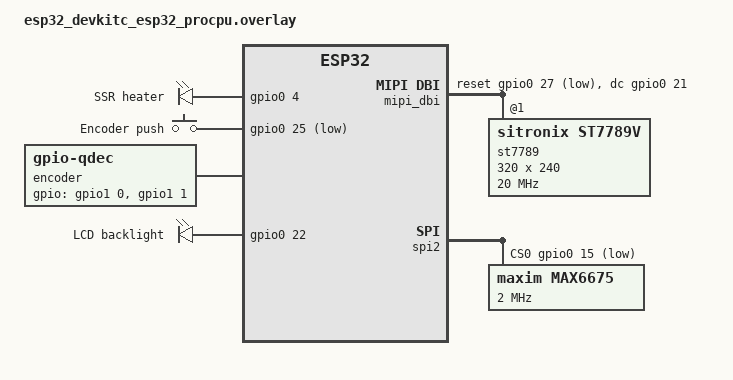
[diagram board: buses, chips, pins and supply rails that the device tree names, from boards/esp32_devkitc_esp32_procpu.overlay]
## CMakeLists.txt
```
# SPDX-License-Identifier: Apache-2.0

cmake_minimum_required(VERSION 3.20.0)

# Make this application's snippets/ directory discoverable, so that
# 'west build -S usb-webui' works with no extra flags. SNIPPET_ROOT otherwise
# contains only the zephyr repository - the application directory is *not*
# added automatically. This must come before find_package(Zephyr), which is
# where snippets are processed.
list(APPEND SNIPPET_ROOT ${CMAKE_CURRENT_SOURCE_DIR})

find_package(Zephyr REQUIRED HINTS $ENV{ZEPHYR_BASE})
project(reflow_oven LANGUAGES C)

# Control core: always present. telemetry_json.c is here because the shell, the
# HTTP server and any host tool must all format the same object identically.
target_sources(app PRIVATE
  src/main.c
  src/telemetry_json.c
  src/core/controller.c
  src/core/fatal.c
  src/core/heater.c
  src/core/pid.c
  src/core/profile.c
  src/core/temp.c
  src/core/tempguard.c
)

# Optional features. Each one is a leaf: nothing in the core references them.
target_sources_ifdef(CONFIG_REFLOW_UI_DISPLAY app PRIVATE src/ui/display_ui.c)
target_sources_ifdef(CONFIG_REFLOW_UI_INPUT   app PRIVATE src/ui/input_ui.c
                                                          src/ui/buttonmap.c
                                                          src/ui/selmap.c)
target_sources_ifdef(CONFIG_REFLOW_SHELL      app PRIVATE src/shell_cmds.c)

# Web UI: the server plus exactly one link implementation.
target_sources_ifdef(CONFIG_REFLOW_NET           app PRIVATE src/net/httpd.c src/net/cmdparse.c
                                                            src/net/httpgate.c src/net/l4.c
                                                            src/net/profiles_json.c
                                                            src/net/sendbudget.c)
target_sources_ifdef(CONFIG_REFLOW_LINK_WIFI     app PRIVATE src/net/wifi.c
                                                             src/net/wifipolicy.c)
target_sources_ifdef(CONFIG_REFLOW_LINK_USB_ECM  app PRIVATE src/net/usb_net.c)
target_sources_ifdef(CONFIG_REFLOW_LINK_WIFI_AP  app PRIVATE src/net/wifi_ap.c
                                                             src/net/wifi_ap_cfg.c)

#
# The access point link refuses to broadcast without a passphrase (see
# reflow_wifi_ap_usable()), and that refusal happens at boot - inside a closed
# oven, in a log nobody may be reading. Say it here as well, where whoever is
# building can still act on it.
#
# It is a warning and not a FATAL_ERROR on purpose: the empty default has to
# stay buildable, or the modularity matrix could not compile this link at all
# without a secret in a versioned file - which is the thing PROCESSO section 8
# forbids.
#
if(CONFIG_REFLOW_LINK_WIFI_AP AND "${CONFIG_REFLOW_AP_PSK}" STREQUAL "")
  message(WARNING
    "CONFIG_REFLOW_AP_PSK is empty: the oven will NOT start its access point "
    "and the web UI will stay off. Set it at build time "
    "(-DCONFIG_REFLOW_AP_PSK=\"...\") or from an uncommitted conf fragment. "
    "Never commit it (PROCESSO section 8).")
endif()

# The page the HTTP server serves is generated, not committed - see the file
# for why. Only the builds that contain httpd.c need it.
include(${CMAKE_CURRENT_SOURCE_DIR}/cmake/index_html.cmake)
if(CONFIG_REFLOW_NET)
  reflow_generate_index_html(${CMAKE_CURRENT_SOURCE_DIR})
endif()

target_include_directories(app PRIVATE src)
```

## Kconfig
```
# SPDX-License-Identifier: Apache-2.0

mainmenu "Reflow oven firmware"

menu "Reflow oven"

comment "Control core"

config REFLOW_CTRL_PERIOD_MS
	int "Control loop period (ms)"
	default 100
	range 10 1000
	help
	  Cadence of the control thread. It drives the SSR window modulation
	  and the profile state machine.

config REFLOW_SAMPLE_PERIOD_MS
	int "Thermocouple sampling period (ms)"
	default 250
	range 100 2000
	help
	  A MAX6675 conversion takes about 220 ms; do not go below that.

config REFLOW_PUBLISH_PERIOD_MS
	int "Telemetry publish period (ms)"
	default 500
	range 100 5000

config REFLOW_ABS_MAX_TEMP_C
	int "Absolute over-temperature cut-out (degC)"
	default 270
	range 60 400
	help
	  Firmware backstop, checked independently of the running profile.
	  It does NOT replace a hardware thermal fuse.

config REFLOW_SENSOR_RETRY_MS
	int "Retry the sensor front-end every (ms) while it is missing"
	default 2000
	range 250 60000
	help
	  An oven powered up with the thermocouple unplugged used to stay
	  unusable until a reboot: the front-end was initialised once, and
	  nothing ever sampled again, so START was refused for ever with no
	  fault on screen (RFO-B39). While the front-end is missing the control
	  thread retries this often, and picks up as soon as the probe is
	  plugged in.

	  Only while the oven is not running: with the state machine stopped the
	  SSR is already off, so a driver is never re-initialised underneath a
	  live element.

config REFLOW_CTRL_STACK_SIZE
	int "Control thread stack size"
	default 2048

config REFLOW_CTRL_PRIORITY
	int "Control thread priority"
	default 5
	help
	  Lower is higher priority. Keep it above the UI and network threads.

comment "Heater output"

config REFLOW_HEATER_WINDOW_MS
	int "Slow PWM window (ms)"
	default 1000
	range 100 10000

config REFLOW_HEATER_MIN_PULSE_MS
	int "Shortest pulse the SSR is allowed to receive (ms)"
	default 50
	range 0 1000
	help
	  Duties that would produce a shorter pulse are snapped to 0 % or 100 %.

config REFLOW_HEATER_STALE_MS
	int "Force the output off if no duty update within (ms)"
	default 2000
	range 200 10000
	help
	  Fail-safe: if the control loop stops updating the request, the
	  element is switched off.

comment "PID gains (milli-units: 40000 means 40.0)"

config REFLOW_PID_KP_MILLI
	int "Kp, permille of duty per degC of error"
	default 60000

config REFLOW_PID_KI_MILLI
	int "Ki"
	default 2000

config REFLOW_PID_KD_MILLI
	int "Kd"
	default 250000

config REFLOW_PID_I_CLAMP
	int "Integral term clamp (permille)"
	default 1000
	help
	  A heater needs most of its steady-state duty to come from the
	  integral term, so this is deliberately as large as the output range.

config REFLOW_PID_D_ALPHA_MILLI
	int "Derivative low-pass coefficient (milli, 1000 = off)"
	default 200
	range 1 1000

comment "Optional features"

config REFLOW_UI_DISPLAY
	bool "Local display UI (LVGL)"
	select DISPLAY
	select LVGL
	help
	  ST7789-class colour panel described by the 'zephyr,display' chosen
	  node. Purely an observer of the telemetry channel.

config REFLOW_UI_DISPLAY_STACK_SIZE
	int "Display thread stack size"
	default 4096
	depends on REFLOW_UI_DISPLAY

config REFLOW_UI_INPUT
	bool "Rotary encoder and button"
	select INPUT
	help
	  Uses gpio-qdec and gpio-keys nodes through the input subsystem.

config REFLOW_SHELL
	bool "Serial console commands"
	select SHELL
	default y
	help
	  'reflow status|start|stop|clear|profile' on the console. Very useful
	  during bring-up; can be removed from a production build.

config REFLOW_NET
	bool "Web UI over the network"
	select NETWORKING
	select NET_IPV4
	select NET_TCP
	select NET_SOCKETS
	select NET_MGMT
	select NET_MGMT_EVENT
	select NET_CONNECTION_MANAGER
	help
	  Single page web UI with a live temperature plot, served by an HTTP
	  server written on plain BSD sockets. The server does not care how the
	  link is provided - pick that below.

# Credentials stay outside the 'if' below so that setting them in prj.conf
# never warns in a build without networking.
config REFLOW_WIFI_SSID
	string "Wi-Fi SSID"
	default "changeme"

config REFLOW_WIFI_PSK
	string "Wi-Fi passphrase (empty for an open network)"
	default ""

if REFLOW_NET

choice REFLOW_LINK
	prompt "Network link for the web UI"
	default REFLOW_LINK_WIFI

config REFLOW_LINK_WIFI
	bool "Wi-Fi station"
	select WIFI
	# wifi.c calls net_mgmt(NET_REQUEST_WIFI_CONNECT). The request handler
	# lives in the Wi-Fi L2 management layer, and WIFI alone does not bring
	# it in: each vendor driver selects it. On a target with no Wi-Fi driver
	# (native_sim, the modularity matrix) the link then fails with
	# 'undefined reference to net_mgmt_NET_REQUEST_WIFI_CONNECT'. The
	# feature uses the API, so the feature declares it.
	select NET_L2_WIFI_MGMT
	help
	  Joins an existing network. Needs a radio: fine on ESP32, not
	  available on a bare RP2350.

config REFLOW_LINK_USB_ECM
	bool "USB Ethernet (CDC ECM)"
	select USB_DEVICE_STACK_NEXT
	select NET_L2_ETHERNET
	select NET_DHCPV4_SERVER
	select HWINFO
	help
	  The oven appears as a USB Ethernet adapter on the same cable that
	  powers it, and hands the host an address over DHCP. No radio needed.

	  Host support: Linux and macOS bind CDC ECM out of the box; Windows
	  has no in-box ECM driver and needs a third party one.

	  Requires a zephyr,cdc-ecm-ethernet node in the devicetree, and
	  CONFIG_CDC_ACM_SERIAL_INITIALIZE_AT_BOOT must be off, because this
	  module initialises the USB device stack itself (registering the
	  shell's CDC ACM function along with the Ethernet one).

config REFLOW_LINK_WIFI_AP
	bool "Wi-Fi access point (SoftAP)"
	select WIFI
	# Same reason as the station link: this module calls
	# net_mgmt(NET_REQUEST_WIFI_AP_ENABLE), whose handler lives in the Wi-Fi
	# L2 management layer, and WIFI alone does not bring it in.
	select NET_L2_WIFI_MGMT
	# The oven hands out addresses on its own network, exactly as it does on
	# the USB link.
	select NET_DHCPV4_SERVER
	help
	  The oven IS the network: it broadcasts its own SSID and serves the web
	  UI at a fixed address, so a phone or a laptop joins it directly with no
	  existing Wi-Fi around. Needs a radio: fine on ESP32, not available on a
	  bare RP2350.

	  This puts start and stop of a mains heater within radio range of
	  anyone, so it refuses to come up until REFLOW_AP_PSK is set, and it
	  logs at error level while CONFIG_REFLOW_NET_TOKEN is empty (commands
	  answer 503, telemetry is still served).

endchoice

if REFLOW_LINK_USB_ECM

config REFLOW_USB_IPV4_ADDR
	string "Oven address on the USB link"
	default "192.168.7.1"

config REFLOW_USB_IPV4_MASK
	string "Netmask of the USB link"
	default "255.255.255.0"

config REFLOW_USB_DHCP_POOL_START
	string "First address handed to the host"
	default "192.168.7.2"

config REFLOW_USB_VID
	hex "USB vendor ID"
	default 0x2fe3
	help
	  0x2fe3 is the Zephyr project VID, acceptable for local development
	  only. Use your own VID/PID pair before distributing hardware.

config REFLOW_USB_PID
	hex "USB product ID"
	default 0x0007

config REFLOW_USB_MANUFACTURER
	string "USB manufacturer string"
	default "Reflow oven project"

config REFLOW_USB_PRODUCT
	string "USB product string"
	default "Reflow oven"

endif # REFLOW_LINK_USB_ECM

if REFLOW_LINK_WIFI_AP

config REFLOW_AP_SSID
	string "SSID the oven broadcasts"
	default "reflow-oven"
	help
	  1 to 32 characters. Not a secret, so it has a working default.

config REFLOW_AP_PSK
	string "Passphrase of the oven's network"
	default ""
	help
	  WPA2 passphrase, 8 to 63 characters. EMPTY BY DESIGN: a passphrase is
	  a secret and secrets do not live in a versioned file (PROCESSO §8), so
	  there is no working default to inherit by accident.

	  While it is empty the access point does NOT come up - the oven says so
	  at error level every boot and the web UI stays off. That is deliberate:
	  an oven broadcasting an open network is an oven anyone in range can
	  turn on, and a freshly flashed board is exactly the one with nothing
	  set. Pass it at build time (`-DCONFIG_REFLOW_AP_PSK="..."`) or from a
	  conf fragment you do not commit.

config REFLOW_AP_IPV4_ADDR
	string "Oven address on its own network"
	default "192.168.4.1"

config REFLOW_AP_IPV4_MASK
	string "Netmask of the oven's network"
	default "255.255.255.0"

config REFLOW_AP_DHCP_POOL_START
	string "First address handed to a client"
	default "192.168.4.2"

endif # REFLOW_LINK_WIFI_AP

config REFLOW_NET_TOKEN
	string "Shared secret required to command the oven over HTTP"
	default ""
	help
	  Sent by the web UI in the X-Reflow-Token header of POST /api/cmd, and
	  compared byte for byte before any command reaches the control core.

	  Deliberately inside `if REFLOW_NET`, and deliberately empty by default:
	  an EMPTY TOKEN DISABLES REMOTE COMMANDS ENTIRELY (the endpoint answers
	  503). A build that accepted anonymous commands because nobody set a
	  token would be the RFO-B02 defect with a friendlier face.

	  Not a substitute for a network you trust: the link is plain HTTP, so
	  anyone able to capture the traffic can replay the token. It closes the
	  drive-by-from-the-browser and the anyone-on-the-LAN cases, not the
	  wiretap one.

	  Do NOT put it in the served page. The UI asks the operator for it and
	  keeps it in memory only.

config REFLOW_NET_HTTP_PORT
	int "HTTP port"
	default 80

config REFLOW_NET_MAX_CLIENTS
	int "Simultaneous HTTP connections"
	default 4
	range 1 8

config REFLOW_NET_PUSH_PERIOD_MS
	int "Server-sent events push period (ms)"
	default 1000
	range 200 10000

config REFLOW_NET_SEND_BUDGET_MS
	int "Drop a client that accepts no data for (ms)"
	default 500
	range 100 10000
	help
	  The server has one thread. A client that asks for a page and then
	  stops reading would park that thread inside send() for ever, which
	  stops the event stream for every other client and kills the remote
	  Stop button (RFO-B07). This bounds it: after this long with no byte
	  accepted, the connection is closed. It measures silence, not
	  connection age, so a slow but progressing download is never dropped
	  and an idle event stream is never touched.

config REFLOW_NET_IDLE_BUDGET_MS
	int "Reclaim a connection that sends no request within (ms)"
	default 5000
	range 1000 60000
	help
	  A connection that is accepted and then says nothing never becomes
	  readable, so the server never serves it and never closes it. Four of
	  them take every slot and the web UI - with the remote Stop button -
	  is unreachable until the board is reset (RFO-B08). After this long
	  without a request arriving, the slot is reclaimed.

	  It applies only to a request that has not arrived yet: an established
	  event stream is idle by definition and is never closed by it.

config REFLOW_NET_STACK_SIZE
	int "HTTP server thread stack size"
	default 4096

endif # REFLOW_NET

module = REFLOW
module-str = reflow
source "subsys/logging/Kconfig.template.log_config"

endmenu

# Network sizing for the web UI.
#
# THIS BLOCK IS BEFORE `source "Kconfig.zephyr"` ON PURPOSE (RFO-B15, RFO-G32).
# `configdefault` inserts its default at the position the symbol's default list
# had when the block was parsed, and Kconfig then takes the first default whose
# condition holds. ZVFS_POLL_MAX carries an unconditional `default 3` upstream,
# so a configdefault parsed AFTER the Zephyr tree lands behind that 3 and never
# applies - which is exactly what happened: the shipped firmware built with
# CONFIG_ZVFS_POLL_MAX=3 while this file claimed 8, and the server died as soon
# as three connections were open. Parsed before the tree, this default is first
# and wins. Anything set in prj.conf or on the command line still beats it.
#
# RFO-G32: the sizing symbols below were in the block after the source and had
# the same defect - measured on rpi_pico2 -S usb-webui, the image built with
# NET_MAX_CONTEXTS=6, NET_PKT_RX_COUNT=14 and NET_PKT_TX_COUNT=14 while this
# file claimed 10, 16 and 16. Only NET_MAX_CONN happened to coincide, because
# the upstream default is also 8. Every one of them is a floor the HTTP server
# needs, so every one of them belongs before the source.

# Sockets poll() sizing lives in ZVFS since NET_SOCKETS started selecting it
# (the old NET_SOCKETS_POLL_MAX no longer exists). The web UI polls one
# listening socket plus REFLOW_NET_MAX_CLIENTS connections, so 8 + 1 covers the
# whole allowed range of clients.
configdefault ZVFS_POLL_MAX
	default 9 if REFLOW_NET

# The send timeout on an accepted socket, without which zsock_send() can park
# the server thread on one client for ever (RFO-B46).
#
# setsockopt(SO_SNDTIMEO) is gated on this symbol - sockets_inet.c wraps the
# whole case in IS_ENABLED(CONFIG_NET_CONTEXT_SNDTIMEO) and falls through to
# ENOTSUP without it - and upstream declares it as a plain bool with no
# `default y`. So the call failed with ENOTSUP on every target this project
# ever built, the httpd.c warning fired once per accepted connection, and the
# comment above send_all() claimed a guarantee that never held.
#
# In this block for GROUPING, and NOT for the reason its neighbours are here
# (RFO-G39 corrects RFO-B46 on this point). The RFO-B15 / RFO-G32 mechanism - a
# configdefault parsed after the Zephyr tree landing behind an unconditional
# upstream default, and never applying - needs a default in front of it to fall
# behind. This symbol has none: upstream declares it as a plain bool with no
# `default` at all, as the paragraph above already says, so its default list is
# empty and a configdefault wins wherever it is parsed.
#
# Measured rather than argued: moved below `source "Kconfig.zephyr"`, the build
# still comes out with CONFIG_NET_CONTEXT_SNDTIMEO=y.
#
# It stays here because it belongs to the same group - what the web UI needs
# from the network stack - and a reader looking for the app's network sizing
# should find all of it in one place. That is a filing decision and not a
# correctness one, and saying which is which matters: this file is where the
# next person looks up when position DOES decide, and three PRs went into
# establishing that rule.
configdefault NET_CONTEXT_SNDTIMEO
	default y if REFLOW_NET

# One net_context per socket: the listener plus every open connection.
configdefault NET_MAX_CONTEXTS
	default 10 if REFLOW_NET

# One net_conn per accepted TCP connection, plus one for the listening
# socket, plus one for the DHCPv4 client on the Wi-Fi link - it registers a
# UDP conn of its own. 8 + 1 + 1 covers the whole allowed range of clients.
#
# RFO-G32 review: the 8 this file used to ask for was not enough at the top of
# the range, and it coincided with the upstream default, so nothing said so.
# net_conn is consumed by the same two sides as net_context: tcp_conn_new()
# registers one per incoming SYN (tcp.c) while net_context_accept() keeps the
# listener's own registered. With 8 clients that is 9, or 10 with DHCPv4, and
# the ninth net_conn_register() fails inside tcp_conn_new() - the connection
# is dropped, which on a SoftAP oven is an operator without the Stop button.
configdefault NET_MAX_CONN
	default 10 if REFLOW_NET

# RFO-B43. net_socket_service is the thread that polls the sockets a service
# registers and runs that service's work on its own stack. The app registers
# none, but NET_DHCPV4_SERVER does, and that is the USB and SoftAP links - the
# two where the oven hands out addresses and IS the network.
#
# Upstream sizes that thread at 2400 when the DHCPv4 server is on. Measured on
# ESP32-S3 in SoftAP with the page being served, it peaks at 2596: 108 % of the
# stack, with no HW_STACK_PROTECTION and no STACK_SENTINEL on that target to
# say so. It overflowed into the kernel instead and the board halted in
# do_swap() on the first client that opened the page - with the SSR gate left
# at the level the last PWM window wrote.
#
# 4096 is the smallest power of two that keeps the measured peak under two
# thirds of the stack: 2596/4096 = 63 %, 1500 B spare. 3072 would be 85 %, and
# the measured 2400 is the crash. The relation is asserted in httpd.c, so a
# build where this default stops applying fails instead of shipping.
#
# Position matters for this one, unlike NET_CONTEXT_SNDTIMEO above: upstream
# gives the symbol four defaults (2400 if QUIC, 2400 if NET_DHCPV4_SERVER,
# 1400 if MDNS_RESPONDER, 1200), so a configdefault parsed after the tree would
# land behind `2400 if NET_DHCPV4_SERVER` and never apply on the exact two
# links that have the thread. It belongs before the `source`, and the .config
# is what says so.
#
# Conditioned on REFLOW_NET and not on the two links by name: the symbol only
# exists when something selects NET_SOCKETS_SERVICE, so on the Wi-Fi station
# link - which brings the DHCPv4 CLIENT and no service - this costs nothing,
# and it keeps covering the thread if another net leaf ever registers a
# service of its own. With REFLOW_NET=n there is no default and no thread.
configdefault NET_SOCKETS_SERVICE_STACK_SIZE
	default 4096 if REFLOW_NET

# RFO-B49. The LVGL memory pool and rendering buffer, and the THIRD time this
# file has shipped a number it did not mean (RFO-B15, RFO-G32).
#
# Measured on rpi_pico2 with the display overlay and REFLOW_UI_DISPLAY=y: the
# image built with LV_Z_MEM_POOL_SIZE=2048 and LV_Z_VDB_SIZE=10 while this file
# claimed 24576 and 16 - a pool one twelfth of the declared size, on a target
# nobody has ever run. Upstream gives both an unconditional default
# (zephyr/modules/lvgl/Kconfig.memory:40 and :73), so parsed after the tree
# these landed behind it and never applied.
#
# The numbers themselves are DECLARATIONS, not measurements: ui_build() has
# never run, so nobody knows what the pool actually needs. What moving them
# fixes is the divergence between what the file says and what the image gets,
# which is a different and answerable question.
configdefault LV_Z_MEM_POOL_SIZE
	default 24576 if REFLOW_UI_DISPLAY

configdefault LV_Z_VDB_SIZE
	default 16 if REFLOW_UI_DISPLAY

configdefault NET_PKT_RX_COUNT
	default 16 if REFLOW_NET

configdefault NET_PKT_TX_COUNT
	default 16 if REFLOW_NET

# RFO-B47. The NET_BUF_* pair is sized here again, and the value is 36 - which
# is NOT a new number: it is exactly what every build of this project had until
# upstream changed, and what the RFO-G32 (#128) measurements recorded.
#
# RFO-G32 had removed these two with a good argument, and an explicitly
# conditional one: upstream gave 36, and a configdefault could only LOWER that
# to the floor of 32. On 2026-08-23 upstream changed the condition (commit
# a3105999560, "net: ip: limit larger ethernet defaults"):
#
#     -default 36 if NET_L2_ETHERNET
#     +default 36 if NET_PKT_LARGE_DEFAULTS
#      default 16
#
# and NET_PKT_LARGE_DEFAULTS is `default y` for ETH_DRIVER, NET_SLIP_TAP and
# WIFI-not-scan-only. The USB ECM link selects NET_L2_ETHERNET without being any
# of the three, so this project's main target started receiving 16 - below the
# floor of 32 the web UI needs - and the BUILD_ASSERT in httpd.c stopped the
# build, which is exactly what it exists to do. The Wi-Fi targets were not hit,
# because WIFI still turns LARGE_DEFAULTS on.
#
# 36 and not 32: with 32 this file would start LOWERING the value on every tree
# that still gives 36, which is the change #128 refused, rightly. With 36 nobody
# loses a buffer on any tree, and the BUILD_ASSERT's floor of 32 is untouched -
# it remains the thing that fails the build if this number ever drops.
#
# What is lost, said out loud: if upstream one day gives MORE than 36, this
# configdefault caps it at 36, and nothing warns. Kconfig has no max(), so a
# real floor needs a symbol of our own plus a derivation - more verbose, and the
# headroom it would buy is over a number nobody has measured needing.
configdefault NET_BUF_RX_COUNT
	default 36 if REFLOW_NET

configdefault NET_BUF_TX_COUNT
	default 36 if REFLOW_NET


source "Kconfig.zephyr"

# Subsystem tuning that belongs to a feature, kept here instead of in
# prj.conf so that switching the feature off really removes it from the image.
# 'configdefault' only supplies a default: anything set explicitly in prj.conf
# or on the command line still wins. Requires Zephyr 3.7 or newer.

# --- display UI (LVGL) ---
# These two stay AFTER the source, and that is measured, not left over
# (RFO-B49). Upstream declares both as plain bools with no `default` at all
# (modules/lib/gui/lvgl/Kconfig), so their default list is empty and a
# configdefault wins wherever it is parsed - the same reasoning the
# NET_CONTEXT_SNDTIMEO block above spells out. The build agrees: with the two
# sizing symbols moved and these left here, the .config comes out with
# LV_FONT_MONTSERRAT_28=y and LV_USE_LOG unset.
configdefault LV_FONT_MONTSERRAT_28
	default y if REFLOW_UI_DISPLAY

configdefault LV_USE_LOG
	default n if REFLOW_UI_DISPLAY

# --- encoder / button ---
configdefault INPUT_GPIO_QDEC
	default y if REFLOW_UI_INPUT

configdefault INPUT_GPIO_KEYS
	default y if REFLOW_UI_INPUT

# --- web UI ---
# DHCP client for the Wi-Fi link only: on the USB link the oven is the server.
configdefault NET_DHCPV4
	default y if REFLOW_LINK_WIFI

configdefault HEAP_MEM_POOL_SIZE
	default 32768 if REFLOW_NET

# Espressif Wi-Fi driver: the symbol only exists on Espressif SoCs, so this is
# a no-op on any other target.
configdefault WIFI_ESP32
	default y if REFLOW_LINK_WIFI || REFLOW_LINK_WIFI_AP

configdefault NET_L2_ETHERNET
	default y if REFLOW_NET

# --- shell ---
configdefault SHELL_STACK_SIZE
	default 4096 if REFLOW_SHELL

# Identity of the CDC ACM console helper, when a board fragment enables it.
# As defaults rather than assignments, so they simply do not apply in builds
# where usb_net.c owns the USB device stack instead.
configdefault CDC_ACM_SERIAL_PID
	default 0x0004 if REFLOW_SHELL

configdefault CDC_ACM_SERIAL_PRODUCT_STRING
	default "Reflow oven" if REFLOW_SHELL
```

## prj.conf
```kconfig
# SPDX-License-Identifier: Apache-2.0
# Base configuration. Board specific bits live in boards/<board>.conf.

CONFIG_LOG=y
CONFIG_REFLOW_LOG_LEVEL_INF=y
CONFIG_MAIN_STACK_SIZE=2048
CONFIG_SYSTEM_WORKQUEUE_STACK_SIZE=2048

# Inter-module message bus
CONFIG_ZBUS=y
CONFIG_ZBUS_CHANNEL_NAME=y
CONFIG_ZBUS_OBSERVER_NAME=y

# Thermocouple front-end (MAX6675 over SPI)
# CONFIG_MAX6675 is deliberately NOT set here: the driver is 'default y' when
# the devicetree has a maxim,max6675 node. Forcing it would turn a devicetree
# problem (overlay not applied) into a confusing Kconfig abort instead of the
# clear "missing alias reflow-thermocouple" compile error.
CONFIG_GPIO=y
CONFIG_SPI=y
CONFIG_SENSOR=y
# The MAX6675 driver logs "Thermocouple not connected" at INFO on every failed
# fetch; at 4 reads/s that buries the console. We report the condition ourselves.
CONFIG_SENSOR_LOG_LEVEL_WRN=y

# Optional features. Turning one off here (or with -DCONFIG_...=n) removes its
# source file, its zbus observer AND the subsystems it needs: the dependencies
# are declared by the feature's Kconfig symbol, not hardcoded in this file.
CONFIG_REFLOW_SHELL=y
CONFIG_REFLOW_UI_DISPLAY=y
CONFIG_REFLOW_UI_INPUT=y
CONFIG_REFLOW_NET=y

# Wi-Fi credentials: replace, or move to settings/NVS before shipping.
CONFIG_REFLOW_WIFI_SSID="changeme"
CONFIG_REFLOW_WIFI_PSK="changeme"
```

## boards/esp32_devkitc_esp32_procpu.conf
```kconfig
# SPDX-License-Identifier: Apache-2.0
#
# Board specific overrides for ESP32-DevKitC.
#
# Intentionally empty: everything the ESP32 needs for Wi-Fi is declared as
# 'configdefault ... if REFLOW_NET' at the bottom of Kconfig, including
# CONFIG_WIFI_ESP32 (a symbol that only exists on Espressif SoCs, so the
# default is harmless everywhere else). That way a build with
# CONFIG_REFLOW_NET=n pulls in nothing network related and emits no Kconfig
# warnings about unmet dependencies.
#
# Wi-Fi on ESP32 also needs the Espressif binary blobs:
#   west blobs fetch hal_espressif
#
# Put genuine board quirks here (pin straps, flash size, clock tweaks).
```

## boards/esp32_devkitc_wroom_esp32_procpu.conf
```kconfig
# SPDX-License-Identifier: Apache-2.0
#
# Board specific overrides for ESP32-DevKitC (WROOM).
#
# Intentionally empty: everything the ESP32 needs for Wi-Fi is declared as
# 'configdefault ... if REFLOW_NET' at the bottom of Kconfig, including
# CONFIG_WIFI_ESP32 (a symbol that only exists on Espressif SoCs, so the
# default is harmless everywhere else). That way a build with
# CONFIG_REFLOW_NET=n pulls in nothing network related and emits no Kconfig
# warnings about unmet dependencies.
#
# Wi-Fi on ESP32 also needs the Espressif binary blobs:
#   west blobs fetch hal_espressif
#
# Put genuine board quirks here (pin straps, flash size, clock tweaks).
```

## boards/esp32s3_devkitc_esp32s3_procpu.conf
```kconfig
# SPDX-License-Identifier: Apache-2.0
#
# Board specific overrides for the ESP32-S3-WROOM-1 target (Sunton
# ESP32-8048S043). This file is merged after prj.conf, so the =n lines below
# win over it.

# Bring-up scope: control core plus shell over the UART0 console. The 4.3"
# panel on this board is an RGB parallel display, not the SPI panel display_ui.c
# drives, and networking on the S3 has never been exercised (RFO-F04).
CONFIG_REFLOW_UI_DISPLAY=n
CONFIG_REFLOW_UI_INPUT=n
CONFIG_REFLOW_NET=n
CONFIG_REFLOW_SHELL=y

# Nothing else belongs here. The Wi-Fi symbols the ESP32 family needs are
# 'configdefault ... if REFLOW_NET' at the bottom of Kconfig, so a build with
# CONFIG_REFLOW_NET=n pulls in nothing network related - and adding them here
# would make the feature un-removable, which is the property the whole
# architecture exists to keep.
#
# Espressif targets need the binary blobs once:
#   west blobs fetch hal_espressif
```

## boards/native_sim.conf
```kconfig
# SPDX-License-Identifier: Apache-2.0
#
# SIMULATION AND BUILD TEST ONLY — companion of boards/native_sim.overlay.
# Merged after prj.conf, like every other fragment in this directory.
#
# native_sim declares its SPI controller as "zephyr,spi-emul-controller", and
# that driver is gated twice: CONFIG_SPI_EMUL is 'default y' when the node
# exists, but it also 'depends on EMUL', which is a menuconfig defaulting to n.
# Without EMUL the controller device is never instantiated and the MAX6675
# instance in the overlay fails to LINK, not to compile:
#
#   undefined reference to `__device_dts_ord_48'   (48 = spi0)
#
# So the emulation subsystem has to be asked for explicitly. It exists only in
# this file: no real board fragment enables it.
CONFIG_EMUL=y
CONFIG_SPI_EMUL=y
```

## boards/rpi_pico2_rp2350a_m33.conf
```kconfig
# SPDX-License-Identifier: Apache-2.0
#
# Raspberry Pi Pico 2 (RP2350A) bring-up fragment.
# This file is merged after prj.conf, so the =n lines below win over it.

# Bring-up scope: control core plus shell. No panel, no networking.
CONFIG_REFLOW_UI_DISPLAY=n
CONFIG_REFLOW_UI_INPUT=n
CONFIG_REFLOW_NET=n
CONFIG_REFLOW_SHELL=y

# Console, log and shell over the USB cable (CDC ACM).
# CDC_ACM_SERIAL_INITIALIZE_AT_BOOT brings up the USB device stack with a
# single CDC ACM instance, so the application needs no USB code at all.
CONFIG_SERIAL=y
CONFIG_CONSOLE=y
CONFIG_UART_CONSOLE=y
CONFIG_STDOUT_CONSOLE=y
CONFIG_UART_LINE_CTRL=y
CONFIG_USB_DEVICE_STACK_NEXT=y
CONFIG_CDC_ACM_SERIAL_INITIALIZE_AT_BOOT=y
# The PID and product string of that helper are set as configdefaults in
# Kconfig instead of here: assigning them unconditionally would warn in the
# usb-webui build, where the helper is off and usb_net.c owns the USB stack.

# Deferred logging matters here: with the console on USB, an immediate-mode
# log call from the control thread would block it on a USB transfer.
CONFIG_LOG_MODE_DEFERRED=y
CONFIG_LOG_BUFFER_SIZE=4096

# The Pico 2 has no debug adapter on board; the watchdog is available if you
# want it later (CONFIG_WDT_*), the node is already enabled by the board.
```

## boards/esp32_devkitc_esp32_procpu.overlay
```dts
/*
 * SPDX-License-Identifier: Apache-2.0
 *
 * Reflow oven hardware map for ESP32-DevKitC (WROOM), APP CPU disabled.
 *
 *   SPI2 (HSPI): SCLK GPIO14, MISO GPIO12, MOSI GPIO13
 *     CS0 GPIO15 -> MAX6675 thermocouple front-end
 *     CS1 GPIO5  -> ST7789 320x240 panel (DC GPIO21, RST GPIO27, BL GPIO22)
 *   GPIO4        -> SSR gate (active high, 3V3 logic input of the SSR module)
 *   GPIO32/33    -> rotary encoder A/B
 *   GPIO25       -> encoder push button (to GND)
 *
 * Check every pin against your own wiring before applying mains power.
 */

#include <zephyr/dt-bindings/display/panel.h>
#include <zephyr/dt-bindings/input/input-event-codes.h>

/ {
	chosen {
		zephyr,display = &st7789;
	};

	reflow_outputs {
		compatible = "gpio-leds";

		ssr0: ssr_0 {
			gpios = <&gpio0 4 GPIO_ACTIVE_HIGH>;
			label = "SSR heater";
		};
	};

	reflow_buttons {
		compatible = "gpio-keys";

		btn0: button_0 {
			gpios = <&gpio0 25 (GPIO_PULL_UP | GPIO_ACTIVE_LOW)>;
			label = "Encoder push";
			zephyr,code = <INPUT_KEY_ENTER>;
		};
	};

	encoder: encoder {
		compatible = "gpio-qdec";
		gpios = <&gpio1 0 GPIO_PULL_UP>, <&gpio1 1 GPIO_PULL_UP>;
		steps-per-period = <4>;
		zephyr,axis = <INPUT_REL_WHEEL>;
		sample-time-us = <2000>;
		idle-timeout-ms = <200>;
		status = "okay";
	};

	lcd_backlight: lcd-backlight {
		compatible = "gpio-leds";

		backlight0: backlight_0 {
			gpios = <&gpio0 22 GPIO_ACTIVE_HIGH>;
			label = "LCD backlight";
		};
	};

	aliases {
		reflow-ssr = &ssr0;
		reflow-thermocouple = &max6675;
		reflow-backlight = &backlight0;
	};
};

&spi2 {
	status = "okay";
	cs-gpios = <&gpio0 15 GPIO_ACTIVE_LOW>, <&gpio0 5 GPIO_ACTIVE_LOW>;

	max6675: max6675@0 {
		compatible = "maxim,max6675";
		reg = <0>;
		spi-max-frequency = <2000000>;
		status = "okay";
	};
};

/*
 * The ST7789 is no longer a direct SPI device: the Zephyr driver moved to the
 * MIPI DBI API, so the panel hangs off a `zephyr,mipi-dbi-spi` controller that
 * emulates DBI Mode C over SPI. What used to be the panel's own
 * `cmd-data-gpios` and `spi-max-frequency` now live as the controller's
 * `dc-gpios` and the panel's `mipi-max-frequency` (RFO-B35).
 *
 * The panel keeps `reg = <1>`: MIPI_DBI_SPI_CONFIG_DT() passes it through as
 * the SPI slave index, so chip select is still CS1 of spi2 — GPIO5, the second
 * entry of cs-gpios above. Changing it here silently moves the chip select.
 */
/ {
	mipi_dbi: mipi_dbi {
		compatible = "zephyr,mipi-dbi-spi";
		spi-dev = <&spi2>;
		dc-gpios = <&gpio0 21 GPIO_ACTIVE_HIGH>;
		reset-gpios = <&gpio0 27 GPIO_ACTIVE_LOW>;
		#address-cells = <1>;
		#size-cells = <0>;

		st7789: st7789v@1 {
			compatible = "sitronix,st7789v";
			reg = <1>;
			status = "okay";

			mipi-max-frequency = <20000000>;
			mipi-mode = "MIPI_DBI_MODE_SPI_4WIRE";

			width = <320>;
			height = <240>;
			x-offset = <0>;
			y-offset = <0>;

			/* Landscape (MV set), 16 bpp. */
			mdac = <0x60>;
			pixel-format = <PANEL_PIXEL_FORMAT_RGB_565>;
			lcm = <0x2c>;
			gctrl = <0x35>;
			vrhs = <0x0b>;
			vdvs = <0x20>;
			vcom = <0x20>;
			gamma = <0x01>;

			porch-param = [0c 0c 00 33 33];
			cmd2en-param = [5a 69 02 01];
			pwctrl1-param = [a4 a1];
			pvgam-param = [d0 00 02 07 0a 28 32 44 42 06 0e 12 14 17];
			nvgam-param = [d0 00 02 07 0a 28 31 54 47 0e 1c 17 1b 1e];
			ram-param = [00 f0];
			rgb-param = [cd 08 14];
		};
	};
};
```

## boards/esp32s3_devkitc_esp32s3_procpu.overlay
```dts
/*
 * SPDX-License-Identifier: Apache-2.0
 *
 * Reflow oven hardware map for the ESP32-S3-WROOM-1 on a Sunton
 * ESP32-8048S043 (4.3" RGB panel board), built as
 * esp32s3_devkitc/esp32s3/procpu.
 *
 *   SPI2: SCLK GPIO12, MISO GPIO13, MOSI GPIO11 (the board's default pinctrl)
 *     CS GPIO18 -> MAX6675 thermocouple front-end
 *   GPIO17      -> SSR gate (active high, 3V3 logic input of the SSR module)
 *
 * Scope of this target is the control core plus the shell: no panel, no
 * encoder, no networking. The 4.3" panel is an RGB parallel display and is not
 * this file's business (RFO-F05/RFO-G23).
 *
 * WHY THESE FIVE PINS, on this board and not on a DevKitC
 * ------------------------------------------------------
 * This PCB spends almost every GPIO before the application gets a say. What is
 * left is one JST 1.28mm 4P pair on the back, and these are exactly its pins.
 *
 * Not available, and why:
 *
 *   GPIO1,3,4,5,6,7,8,9,14,15,16,21,39,40,41,42,45,46,47,48
 *                 the 16-bit RGB bus, DE, VSYNC, HSYNC and PCLK of the panel
 *   GPIO2         panel backlight
 *   GPIO19,20     GT911 touch I2C, and the USB Serial/JTAG pair
 *   GPIO43,44     UART0, the console this target logs to
 *   GPIO26..37    SPI flash and the octal PSRAM of the WROOM-1 module
 *   GPIO0,3,45,46 strapping pins (boot mode, JTAG source, VDD_SPI voltage)
 *
 * What is left, and what it costs:
 *
 *   GPIO11,12,13  the microSD slot's SD_MMC lines, broken out as SPI on the
 *                 connector. Free while no card is used, and they are already
 *                 the board's default spim2 pins, so the thermocouple needs no
 *                 pin routing of its own.
 *   GPIO17,18     the only two pins with no second duty by default.
 *
 * The SSR gate takes GPIO17 and the chip select takes GPIO18, not the other way
 * round. GPIO18 can be tied to the GT911 interrupt by a solder jumper on some
 * revisions of this board; if someone closes that jumper, a touch would pull
 * the line the SSR gate sits on. On the chip select the same event costs a
 * corrupt reading, which the firmware already turns into FAULT_SENSOR and an
 * open element. Put the failure where it fails safe.
 *
 * The hardware chip select is deliberately NOT in the pinctrl group below.
 * The board's own spim2_default maps SPIM2_CSEL to GPIO10, and driving a
 * hardware CS on a pin the application also thinks is free is the RFO-B18
 * defect (#16) on the classic ESP32. Chip select here is a plain GPIO in
 * cs-gpios, and GPIO10 is left alone.
 *
 * The SSR gate floats at reset like every other S3 pin: the module needs its
 * own pull-down to ground, on the board, or the element can be energised
 * between power-on and the first instruction of heater.c (RFO-B06).
 *
 * Check every pin against your own wiring before applying mains power. Nothing
 * here has been verified on hardware.
 */

#include <zephyr/dt-bindings/pinctrl/esp32s3-pinctrl.h>

/ {
	reflow_outputs {
		compatible = "gpio-leds";

		ssr0: ssr_0 {
			gpios = <&gpio0 17 GPIO_ACTIVE_HIGH>;
			label = "SSR heater";
		};
	};

	aliases {
		reflow-ssr = &ssr0;
		reflow-thermocouple = &max6675;
	};
};

&pinctrl {
	/*
	 * The board's spim2_default minus SPIM2_CSEL_GPIO10 - see the note above.
	 * The MAX6675 never receives a byte, but MOSI stays in the group and
	 * driven low: leaving it out would not free the pin for anything on this
	 * board, and an undriven MOSI is a floating input on the connector.
	 */
	spim2_reflow: spim2_reflow {
		group1 {
			pinmux = <SPIM2_MISO_GPIO13>,
				 <SPIM2_SCLK_GPIO12>;
		};

		group2 {
			pinmux = <SPIM2_MOSI_GPIO11>;
			output-low;
		};
	};
};

&spi2 {
	status = "okay";
	pinctrl-0 = <&spim2_reflow>;
	pinctrl-names = "default";
	cs-gpios = <&gpio0 18 GPIO_ACTIVE_LOW>;

	max6675: max6675@0 {
		compatible = "maxim,max6675";
		reg = <0>;
		spi-max-frequency = <2000000>;
		status = "okay";
	};
};
```

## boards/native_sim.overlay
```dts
/*
 * SPDX-License-Identifier: Apache-2.0
 *
 * SIMULATION AND BUILD TEST ONLY. Nothing in this file describes hardware:
 * every pin number below is a slot in the native_sim GPIO emulator, there is no
 * SSR on the other end and no thermocouple on the SPI bus. Never copy a number
 * from here into a board overlay, and never treat a green build here as
 * evidence that a real oven is wired correctly.
 *
 * What it is for: giving `native_sim` the devicetree nodes that the firmware
 * requires at compile time, so that the modularity matrix
 * (`.flow/bin/flow matrix`, and the `modularidade` job of the CI) can build
 * every combination of CONFIG_REFLOW_* on a host with no hardware attached.
 * Without it heater.c:16 and temp.c:16 stop the build with #error, because the
 * aliases 'reflow-ssr' and 'reflow-thermocouple' exist only in the Pico and
 * ESP32 overlays.
 *
 * Nodes provided, and who needs each one:
 *
 *   ssr0        gpio-leds on the GPIO emulator   heater.c  (alias reflow-ssr)
 *   max6675     on the SPI emulator              temp.c    (alias reflow-thermocouple)
 *   btn0        gpio-keys                        CONFIG_REFLOW_UI_INPUT
 *   encoder     gpio-qdec                        CONFIG_REFLOW_UI_INPUT
 *   cdc_ecm0    on the native udc                CONFIG_REFLOW_LINK_USB_ECM
 *
 * The display is not declared here: native_sim already chooses its SDL panel
 * (zephyr,display = &sdl_dc), and CONFIG_REFLOW_UI_DISPLAY uses the chosen node.
 *
 * At runtime the emulated bus has no MAX6675 behind it, so reflow_temp_init()
 * fails, the controller latches FAULT_SENSOR and the oven refuses to start.
 * That is the correct outcome for a simulated build and it is why this overlay
 * proves nothing about behaviour — only that the code compiles and links.
 */

#include <zephyr/dt-bindings/input/input-event-codes.h>

/ {
	reflow_outputs {
		compatible = "gpio-leds";

		ssr0: ssr_0 {
			gpios = <&gpio0 15 GPIO_ACTIVE_HIGH>;
			label = "SSR heater (emulated)";
		};
	};

	reflow_buttons {
		compatible = "gpio-keys";

		btn0: button_0 {
			gpios = <&gpio0 9 (GPIO_PULL_UP | GPIO_ACTIVE_LOW)>;
			label = "Encoder push (emulated)";
			zephyr,code = <INPUT_KEY_ENTER>;
		};
	};

	encoder: encoder {
		compatible = "gpio-qdec";
		gpios = <&gpio0 10 GPIO_PULL_UP>, <&gpio0 11 GPIO_PULL_UP>;
		steps-per-period = <4>;
		zephyr,axis = <INPUT_REL_WHEEL>;
		sample-time-us = <2000>;
		idle-timeout-ms = <200>;
		status = "okay";
	};

	aliases {
		reflow-ssr = &ssr0;
		reflow-thermocouple = &max6675;
	};
};

/* spi0 is the emulated controller that native_sim declares. */
&spi0 {
	status = "okay";
	cs-gpios = <&gpio0 20 GPIO_ACTIVE_LOW>;

	max6675: max6675@0 {
		compatible = "maxim,max6675";
		reg = <0>;
		spi-max-frequency = <1000000>;
		status = "okay";
	};
};

/*
 * USB, needed only by CONFIG_REFLOW_LINK_USB_ECM.
 *
 * native_sim ships zephyr_udc0 as a "zephyr,native-posix-udc" node, which is a
 * driver for the LEGACY USB device stack. usb_net.c uses USBD, the new stack
 * (CONFIG_USB_DEVICE_STACK_NEXT), and that one only knows UDC drivers — so the
 * node compiles and then fails to link:
 *
 *   undefined reference to `__device_dts_ord_50'   (50 = udc0)
 *
 * The fix is the same one the Zephyr USB tests use for this board: drop the
 * legacy node and rebuild the zephyr_udc0 label on a virtual UDC under a
 * virtual host controller. usb_net.c reaches it by
 * DEVICE_DT_GET(DT_NODELABEL(zephyr_udc0)), so the label has to be this one.
 *
 * The MAC addresses come from the IANA documentation range, like the Pico
 * overlay. In builds without the USB link the whole subtree is unused.
 */
/delete-node/ &zephyr_udc0;

/ {
	zephyr_uhc0: uhc_vrt0 {
		compatible = "zephyr,uhc-virtual";

		zephyr_udc0: udc_vrt0 {
			compatible = "zephyr,udc-virtual";
			num-bidir-endpoints = <8>;
			maximum-speed = "high-speed";

			cdc_ecm0: cdc_ecm0 {
				compatible = "zephyr,cdc-ecm-ethernet";
				remote-mac-address = "00005E0053F1";
				local-mac-address = [00 00 5E 00 53 F0];
				status = "okay";
			};
		};
	};
};
```

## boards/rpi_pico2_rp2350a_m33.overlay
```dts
/*
 * SPDX-License-Identifier: Apache-2.0
 *
 * Reflow oven bring-up map for Raspberry Pi Pico 2 (RP2350A, Cortex-M33).
 *
 * Minimal build on purpose: thermocouple + SSR + shell over USB. No panel and
 * no radio, so the first hardware run has as few variables as possible.
 * See boards/rpi_pico2_rp2350a_m33.conf for the matching Kconfig fragment and
 * overlays/rpi_pico2_display_encoder.overlay for the next step.
 *
 *   SPI0 (board default pinctrl): SCK GP18, MOSI GP19, MISO GP16
 *     CS GP20      -> MAX6675 thermocouple front-end (read only, MISO + CS)
 *   GP15           -> SSR gate (active high, 3V3 logic input of the SSR module)
 *   USB            -> CDC ACM: console, log and 'reflow' shell on the same cable
 *
 * GP17 is left alone: the board pinctrl muxes it as the SPI0 hardware CSn, so
 * chip select is done with a plain GPIO (GP20) that Zephyr holds low for the
 * whole 16-bit frame — which is what the MAX6675 needs.
 *
 * Check every pin against your own wiring before applying mains power.
 */

/ {
	chosen {
		/* USB is the only cable: console, logging and shell all on it. */
		zephyr,console = &cdc_acm_uart0;
		zephyr,shell-uart = &cdc_acm_uart0;
	};

	reflow_outputs {
		compatible = "gpio-leds";

		ssr0: ssr_0 {
			gpios = <&gpio0 15 GPIO_ACTIVE_HIGH>;
			label = "SSR heater";
		};
	};

	aliases {
		reflow-ssr = &ssr0;
		reflow-thermocouple = &max6675;
	};
};

&spi0 {
	status = "okay";
	cs-gpios = <&gpio0 20 GPIO_ACTIVE_LOW>;

	max6675: max6675@0 {
		compatible = "maxim,max6675";
		reg = <0>;
		spi-max-frequency = <1000000>;
		status = "okay";
	};
};

&zephyr_udc0 {
	cdc_acm_uart0: cdc_acm_uart0 {
		compatible = "zephyr,cdc-acm-uart";
		label = "CDC_ACM_0";
	};
};
```

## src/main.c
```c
/*
 * SPDX-License-Identifier: Apache-2.0
 *
 * The application entry point is deliberately empty of feature code: the
 * control core and every optional module are self-registering threads, so
 * enabling or removing a feature is a Kconfig edit and nothing else.
 */

#include <zephyr/kernel.h>
#include <zephyr/logging/log.h>

#include "core/app.h"

LOG_MODULE_REGISTER(reflow_main, CONFIG_REFLOW_LOG_LEVEL);

int main(void)
{
	LOG_INF("reflow oven firmware, board %s", CONFIG_BOARD);
	LOG_INF("profiles available: %u", reflow_profile_count());

	for (uint8_t i = 0; i < reflow_profile_count(); i++) {
		LOG_INF("  [%u] %s", i, reflow_profile_get(i)->name);
	}

	LOG_INF("features:"
#ifdef CONFIG_REFLOW_UI_DISPLAY
		" display"
#endif
#ifdef CONFIG_REFLOW_UI_INPUT
		" input"
#endif
#ifdef CONFIG_REFLOW_NET
		" net"
#endif
#ifdef CONFIG_REFLOW_SHELL
		" shell"
#endif
		"");

	return 0;
}
```

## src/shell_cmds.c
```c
/*
 * SPDX-License-Identifier: Apache-2.0
 *
 * Serial console commands. Optional: CONFIG_REFLOW_SHELL.
 * Handy for bring-up before the display or Wi-Fi exist:
 *   reflow status | json | start | stop | clear | profile <n>
 *
 * 'json' is the machine-readable twin of 'status': one line, same object the
 * HTTP server serves at /api/state. It is what lets a host - a script, or the
 * local Web Serial page in web/ - drive the oven over the USB serial port
 * without parsing human text.
 */

#include <stdlib.h>

#include <zephyr/kernel.h>
#include <zephyr/shell/shell.h>

#include "core/app.h"
#include "telemetry_json.h"

static struct reflow_telemetry last;

static void telemetry_cb(const struct zbus_channel *chan)
{
	last = *(const struct reflow_telemetry *)zbus_chan_const_msg(chan);
}

ZBUS_LISTENER_DEFINE(reflow_shell_lsnr, telemetry_cb);
ZBUS_CHAN_ADD_OBS(reflow_telemetry_chan, reflow_shell_lsnr, 4);

static int post(const struct shell *sh, uint8_t id, int32_t arg)
{
	struct reflow_cmd cmd = { .id = id, .arg = arg };
	int ret = reflow_cmd_post(&cmd, K_MSEC(100));

	if (ret != 0) {
		shell_error(sh, "command queue busy (%d)", ret);
	}
	return ret;
}

static int cmd_status(const struct shell *sh, size_t argc, char **argv)
{
	const struct reflow_profile *prof = reflow_profile_get(last.profile_idx);

	ARG_UNUSED(argc);
	ARG_UNUSED(argv);

	shell_print(sh, "state      : %s", reflow_state_str(last.state));
	shell_print(sh, "fault      : %s", reflow_fault_str(last.fault));
	if (last.temp_valid) {
		shell_print(sh, "temperature: %d.%03d C", last.temp_mc / 1000,
			    abs(last.temp_mc) % 1000);
	} else {
		shell_print(sh, "temperature: --  (no valid reading)");
	}
	shell_print(sh, "setpoint   : %d.%03d C", last.setpoint_mc / 1000,
		    abs(last.setpoint_mc) % 1000);
	shell_print(sh, "duty       : %u.%u %%", last.duty_permille / 10,
		    last.duty_permille % 10);
	shell_print(sh, "profile    : %u (%s)", last.profile_idx,
		    prof ? prof->name : "?");
	shell_print(sh, "stage      : %u/%u, %u s (total %u s)",
		    last.n_stages ? last.stage_idx + 1U : 0U, last.n_stages,
		    last.stage_ms / 1000U, last.total_ms / 1000U);
	return 0;
}

static int cmd_json(const struct shell *sh, size_t argc, char **argv)
{
	char buf[REFLOW_JSON_BUF_SZ];

	ARG_UNUSED(argc);
	ARG_UNUSED(argv);

	(void)reflow_telemetry_json(&last, buf, sizeof(buf));
	/* One line, always starting with '{': that is how a host picks it out
	 * of the shell's echo and prompt without parsing them.
	 */
	shell_print(sh, "%s", buf);
	return 0;
}

static int cmd_start(const struct shell *sh, size_t argc, char **argv)
{
	ARG_UNUSED(argc);
	ARG_UNUSED(argv);
	return post(sh, REFLOW_CMD_START, 0);
}

static int cmd_stop(const struct shell *sh, size_t argc, char **argv)
{
	ARG_UNUSED(argc);
	ARG_UNUSED(argv);
	return post(sh, REFLOW_CMD_STOP, 0);
}

static int cmd_clear(const struct shell *sh, size_t argc, char **argv)
{
	ARG_UNUSED(argc);
	ARG_UNUSED(argv);
	return post(sh, REFLOW_CMD_CLEAR_FAULT, 0);
}

static int cmd_profile(const struct shell *sh, size_t argc, char **argv)
{
	if (argc < 2) {
		for (uint8_t i = 0; i < reflow_profile_count(); i++) {
			shell_print(sh, "[%u] %s", i, reflow_profile_get(i)->name);
		}
		return 0;
	}
	return post(sh, REFLOW_CMD_SELECT_PROFILE, atoi(argv[1]));
}

SHELL_STATIC_SUBCMD_SET_CREATE(reflow_sub,
	SHELL_CMD(status, NULL, "Show controller state", cmd_status),
	SHELL_CMD(json, NULL, "Same state as one line of JSON", cmd_json),
	SHELL_CMD(start, NULL, "Start the selected profile", cmd_start),
	SHELL_CMD(stop, NULL, "Abort the run", cmd_stop),
	SHELL_CMD(clear, NULL, "Clear a latched fault", cmd_clear),
	SHELL_CMD_ARG(profile, NULL, "List or select profile: profile [n]",
		      cmd_profile, 1, 1),
	SHELL_SUBCMD_SET_END);

SHELL_CMD_REGISTER(reflow, &reflow_sub, "Reflow oven control", NULL);
```

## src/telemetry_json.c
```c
/* SPDX-License-Identifier: Apache-2.0 */

#include <zephyr/kernel.h>

#include "telemetry_json.h"

int reflow_telemetry_json(const struct reflow_telemetry *t, char *buf, size_t len)
{
	const struct reflow_profile *prof = reflow_profile_get(t->profile_idx);
	const char *stage = "-";

	if (prof != NULL && t->stage_idx < prof->n_stages) {
		stage = prof->stages[t->stage_idx].name;
	}

	return snprintk(buf, len,
			"{\"temp_mc\":%d,\"temp_valid\":%s,"
			"\"setpoint_mc\":%d,\"duty\":%u,"
			"\"state\":\"%s\",\"fault\":\"%s\",\"profile\":%u,"
			"\"stage\":%u,\"n_stages\":%u,\"stage_name\":\"%s\","
			"\"stage_ms\":%u,\"total_ms\":%u,\"uptime_ms\":%u}",
			t->temp_mc, t->temp_valid ? "true" : "false",
			t->setpoint_mc, t->duty_permille,
			reflow_state_str(t->state), reflow_fault_str(t->fault),
			t->profile_idx, t->stage_idx, t->n_stages, stage,
			t->stage_ms, t->total_ms, t->uptime_ms);
}
```
